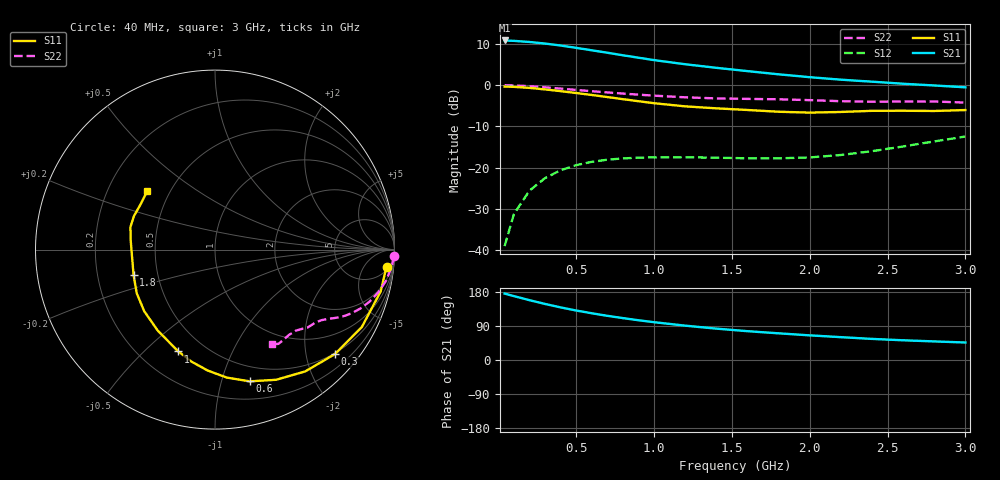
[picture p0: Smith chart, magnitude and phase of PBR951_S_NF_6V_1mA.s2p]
! Filename:  PBR951K.S2P  Version:  3.0
! Philips part #:  PBR951  Date: July 1998
! Bias condition:  Vce=6V, Ic=1.0mA
#  MHz  S  MA  R 50
! Freq  S11  S21  S12  S22
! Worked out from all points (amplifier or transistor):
!   21 points, 40 MHz to 3 GHz, reference 50 ohm
!   highest |S21| = 10.8 dB at 40 MHz (marker M1)
!   |S21| within 3 dB of that: start of sweep to 704 MHz
!   unconditionally stable (mu >= 1): 1.743 GHz to 2.703 GHz
!   at 300 MHz: K = 0.16, MSG = 16.3 dB, |S12| = -22.5 dB
!   at 1 GHz: K = 0.56, MSG = 11.8 dB, |S12| = -17.5 dB
!   at 3 GHz: K = 0.95, MSG = 6.0 dB, |S12| = -12.5 dB
!   lowest NFmin = 1.08 dB at 500 MHz
!   S11 on the Smith chart (normalised r, x): 40 MHz: 7, -17; 300 MHz: 0.48, -2.59; 600 MHz: 0.36, -1.23; 1 GHz: 0.36, -0.64; 1.8 GHz: 0.36, -0.13; 3 GHz: 0.38, +0.33
40  0.9603 -5.7  3.476 175.3  0.01116 86.6  0.9965 -2.1
100  0.9521 -14.1  3.435 168.6  0.02742 81.6  0.9899 -5.3
200  0.9249 -27.9  3.331 157.9  0.05261 73.9  0.969 -10.3
300  0.8862 -41.1  3.188 147.9  0.07464 66.9  0.9397 -14.8
400  0.8446 -53.5  3.017 138.8  0.09287 60.8  0.9071 -18.8
500  0.8012 -64.8  2.827 130.6  0.107 55.8  0.8739 -22.1
600  0.7591 -75.2  2.641 123.3  0.1175 51.6  0.8427 -24.7
700  0.7162 -84.7  2.468 116.6  0.1247 48.3  0.8149 -26.8
800  0.6751 -93.5  2.298 110.5  0.1293 45.7  0.7893 -28.5
900  0.6378 -101.8  2.148 104.9  0.1319 43.6  0.7658 -29.9
1000  0.6032 -109.8  2.009 99.8  0.1332 42.2  0.7447 -31.1
1200  0.5526 -125.3  1.79 90.6  0.1335 41.1  0.711 -33.6
1400  0.5227 -139.0  1.62 82.8  0.1318 42.2  0.69 -36.2
1600  0.4992 -150.9  1.477 76.1  0.1296 46.2  0.6803 -38.6
1800  0.4753 -162.6  1.351 70.4  0.1296 51.9  0.6731 -40.3
2000  0.4639 -175.1  1.247 65.0  0.1329 58.9  0.6573 -42.1
2200  0.4725 173.7  1.163 60.3  0.1422 65.9  0.6378 -45.1
2400  0.4876 165.1  1.1 55.7  0.1581 72.0  0.6288 -49.3
2600  0.4887 157.6  1.038 52.0  0.1804 77.0  0.6318 -53.3
2800  0.4854 148.8  0.9897 49.0  0.2077 80.1  0.6326 -56.2
3000  0.4985 139.2  0.9397 46.1  0.2381 82.1  0.6139 -58.6
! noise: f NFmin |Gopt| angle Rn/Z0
500  1.083  0.606  32.6  0.392
800  1.163  0.488  57.49  0.405
900  1.124  0.525  64.97  0.366
1000  1.371  0.504  70.15  0.381
1500  1.891  0.504  121.2  0.216
2000  2.82  0.478  173.6  0.116
